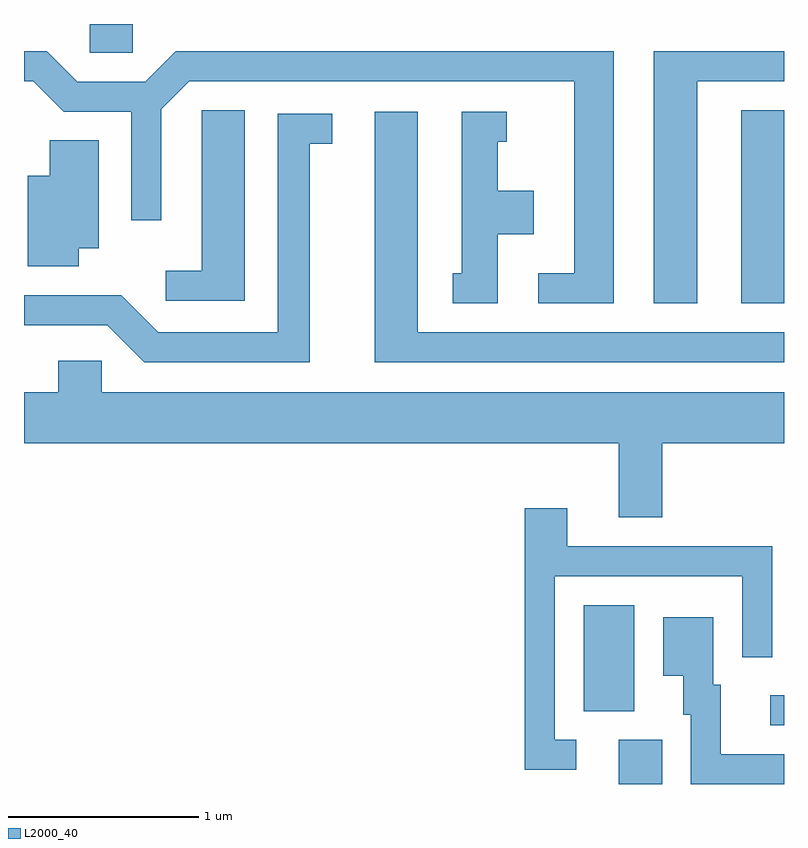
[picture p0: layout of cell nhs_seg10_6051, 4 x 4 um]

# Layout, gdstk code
import gdstk
lib = gdstk.Library(unit=1e-6, precision=1e-09)
def R(c, l, rs):  # rectangles x0, y0, x1, y1
    for r in rs: c.add(gdstk.rectangle(r[:2], r[2:], *l))
def P(c, l, *ps):  # polygons
    for p in ps: c.add(gdstk.Polygon(p, *l))
L2000_40 = (2000, 40)

nhs_seg10_6051 = lib.new_cell('nhs_seg10_6051')
R(nhs_seg10_6051, L2000_40, [(366.741,2156.522,366.969,2156.754), (367.538,2156.831,367.611,2156.989), (366.556,2156.906,366.824,2157.464), (367.386,2159.051,367.611,2160.069), (363.956,2160.371,364.184,2160.522)])
P(nhs_seg10_6051, L2000_40, [(367.154,2160.221),(367.611,2160.221),(367.611,2160.379),(366.926,2160.379),(366.926,2159.051),(367.154,2159.051)],
  [(366.714,2160.379),(364.409,2160.379),(364.249,2160.219),(363.892,2160.219),(363.732,2160.379),(363.611,2160.379),(363.611,2160.221),(363.659,2160.221),(363.819,2160.061),(364.176,2160.061),(364.176,2159.488),(364.334,2159.488),(364.334,2160.074),(364.482,2160.221),(366.506,2160.221),(366.506,2159.209),(366.318,2159.209),(366.318,2159.051),(366.714,2159.051)],
  [(364.774,2160.069),(364.546,2160.069),(364.546,2159.224),(364.358,2159.224),(364.358,2159.066),(364.774,2159.066)],
  [(366.104,2159.416),(366.294,2159.416),(366.294,2159.644),(366.104,2159.644),(366.104,2159.901),(366.153,2159.901),(366.153,2160.059),(365.916,2160.059),(365.916,2159.209),(365.868,2159.209),(365.868,2159.051),(366.104,2159.051)],
  [(367.611,2158.899),(365.684,2158.899),(365.684,2160.059),(365.456,2160.059),(365.456,2158.741),(367.611,2158.741)],
  [(365.114,2159.891),(365.233,2159.891),(365.233,2160.049),(364.946,2160.049),(364.946,2158.899),(364.317,2158.899),(364.122,2159.094),(363.611,2159.094),(363.611,2158.936),(364.049,2158.936),(364.244,2158.741),(365.114,2158.741)],
  [(363.899,2159.341),(364.004,2159.341),(364.004,2159.909),(363.746,2159.909),(363.746,2159.724),(363.631,2159.724),(363.631,2159.246),(363.899,2159.246)],
  [(366.969,2158.316),(367.611,2158.316),(367.611,2158.584),(364.019,2158.584),(364.019,2158.749),(363.791,2158.749),(363.791,2158.584),(363.611,2158.584),(363.611,2158.316),(366.741,2158.316),(366.741,2157.926),(366.969,2157.926)],
  [(366.518,2156.754),(366.404,2156.754),(366.404,2157.616),(367.391,2157.616),(367.391,2157.188),(367.549,2157.188),(367.549,2157.774),(366.469,2157.774),(366.469,2157.974),(366.246,2157.974),(366.246,2156.596),(366.518,2156.596)],
  [(367.611,2156.679),(367.279,2156.679),(367.279,2157.044),(367.239,2157.044),(367.239,2157.399),(366.976,2157.399),(366.976,2157.091),(367.081,2157.091),(367.081,2156.886),(367.121,2156.886),(367.121,2156.522),(367.611,2156.522)])

lib.write_gds('nhs_seg10_6051.gds')
